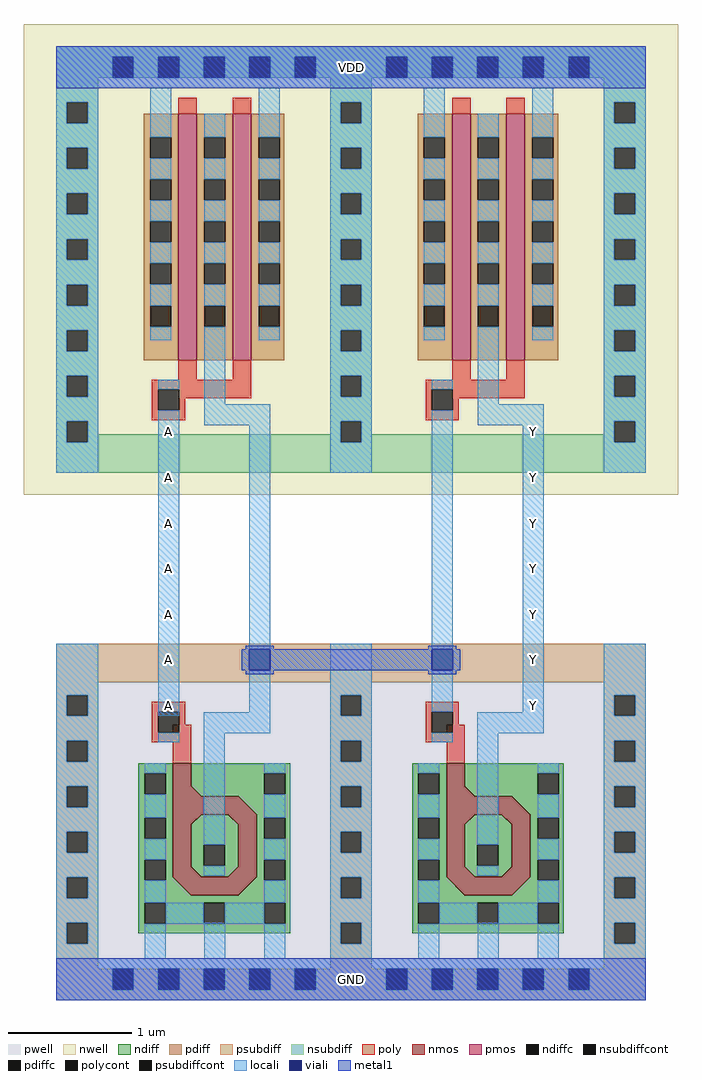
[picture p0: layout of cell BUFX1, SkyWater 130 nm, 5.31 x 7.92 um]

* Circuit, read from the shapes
.subckt BUFX1 Y A VDD GND
XM1 GND A n1 GND sky130_fd_pr__nfet_01v8 w=2.56 l=0.1484
XM2 GND n1 Y GND sky130_fd_pr__nfet_01v8 w=2.56 l=0.1497
XM3 n1 A VDD VDD sky130_fd_pr__pfet_01v8 w=2 l=0.15 m=2
XM4 Y n1 VDD VDD sky130_fd_pr__pfet_01v8 w=2 l=0.15 m=2
.ends

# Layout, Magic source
magic
tech sky130A
magscale 1 2
<< nwell >>
rect 57 1463 91 1497
<< pwell >>
rect 57 -17 91 17
<< locali >>
rect 131 871 165 905
rect 723 871 757 905
rect 131 797 165 831
rect 723 797 757 831
rect 131 723 165 757
rect 723 723 757 757
rect 131 649 165 683
rect 723 649 757 683
rect 131 575 165 609
rect 723 575 757 609
rect 131 501 165 535
rect 723 501 757 535
rect 131 427 165 461
rect 723 427 757 461
<< metal1 >>
rect -34 1446 922 1514
rect -34 -34 922 34
use bufx1  bufx1_0 pcells
transform 1 0 0 0 1 0
box -87 -34 975 1550
<< labels >>
rlabel locali 723 427 757 461 1 Y
port 1 nsew signal output
rlabel locali 723 501 757 535 1 Y
port 1 nsew signal output
rlabel locali 723 575 757 609 1 Y
port 1 nsew signal output
rlabel locali 723 649 757 683 1 Y
port 1 nsew signal output
rlabel locali 723 723 757 757 1 Y
port 1 nsew signal output
rlabel locali 723 797 757 831 1 Y
port 1 nsew signal output
rlabel locali 723 871 757 905 1 Y
port 1 nsew signal output
rlabel locali 131 427 165 461 1 A
port 2 nsew signal input
rlabel locali 131 501 165 535 1 A
port 2 nsew signal input
rlabel locali 131 575 165 609 1 A
port 2 nsew signal input
rlabel locali 131 649 165 683 1 A
port 2 nsew signal input
rlabel locali 131 723 165 757 1 A
port 2 nsew signal input
rlabel locali 131 797 165 831 1 A
port 2 nsew signal input
rlabel locali 131 871 165 905 1 A
port 2 nsew signal input
rlabel metal1 -34 1446 922 1514 1 VDD
port 3 nsew power bidirectional abutment
rlabel metal1 -34 -34 922 34 1 GND
port 4 nsew ground bidirectional abutment


<< properties >>
string LEFclass CORE
string LEFsite unitrh
string FIXED_BBOX 0 0 888 1480
string LEFsymmetry X Y R90
<< end >>

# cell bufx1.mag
magic
tech sky130A
magscale 1 2
<< metal1 >>
rect 315 501 569 535
use invx1_pcell  invx1_pcell_1
transform 1 0 444 0 1 0
box -87 -34 531 1550
use invx1_pcell  invx1_pcell_0
transform 1 0 0 0 1 0
box -87 -34 531 1550
use li1_M1_contact  li1_M1_contact_1
transform 1 0 592 0 1 518
box -53 -33 29 33
use li1_M1_contact  li1_M1_contact_0
transform -1 0 296 0 -1 518
box -53 -33 29 33
<< end >>

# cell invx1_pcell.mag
magic
tech sky130A
magscale 1 2
<< nwell >>
rect -87 786 531 1550
<< pwell >>
rect -34 -34 478 544
<< pdiffc >>
rect 118 1059 152 1093
rect 206 1059 240 1093
rect 294 1059 328 1093
<< psubdiff >>
rect 34 482 410 544
rect 34 -17 57 17
rect 91 -17 131 17
rect 165 -17 205 17
rect 239 -17 279 17
rect 313 -17 353 17
rect 387 -17 410 17
rect 34 -34 410 -17
<< nsubdiff >>
rect 34 1497 410 1514
rect 34 1463 57 1497
rect 91 1463 131 1497
rect 165 1463 205 1497
rect 239 1463 279 1497
rect 313 1463 353 1497
rect 387 1463 410 1497
rect 34 822 410 884
<< psubdiffcont >>
rect 57 -17 91 17
rect 131 -17 165 17
rect 205 -17 239 17
rect 279 -17 313 17
rect 353 -17 387 17
<< nsubdiffcont >>
rect 57 1463 91 1497
rect 131 1463 165 1497
rect 205 1463 239 1497
rect 279 1463 313 1497
rect 353 1463 387 1497
<< poly >>
rect 155 381 185 413
<< locali >>
rect 34 1497 410 1514
rect 34 1463 57 1497
rect 91 1463 131 1497
rect 165 1463 205 1497
rect 239 1463 279 1497
rect 313 1463 353 1497
rect 387 1463 410 1497
rect 34 1446 410 1463
rect 118 1093 152 1111
rect 118 1037 152 1059
rect 206 1093 240 1111
rect 206 933 240 1059
rect 294 1093 328 1111
rect 294 1037 328 1059
rect 131 449 165 908
rect 206 899 313 933
rect 279 433 313 899
rect 205 399 313 433
rect 205 233 239 399
rect 109 34 143 90
rect 206 34 240 91
rect 303 34 337 90
rect 34 17 410 34
rect 34 -17 57 17
rect 91 -17 131 17
rect 165 -17 205 17
rect 239 -17 279 17
rect 313 -17 353 17
rect 387 -17 410 17
rect 34 -34 410 -17
<< viali >>
rect 57 1463 91 1497
rect 131 1463 165 1497
rect 205 1463 239 1497
rect 279 1463 313 1497
rect 353 1463 387 1497
rect 57 -17 91 17
rect 131 -17 165 17
rect 205 -17 239 17
rect 279 -17 313 17
rect 353 -17 387 17
<< metal1 >>
rect 34 1497 410 1514
rect 34 1463 57 1497
rect 91 1463 131 1497
rect 165 1463 205 1497
rect 239 1463 279 1497
rect 313 1463 353 1497
rect 387 1463 410 1497
rect 34 1446 410 1463
rect 34 17 410 34
rect 34 -17 57 17
rect 91 -17 131 17
rect 165 -17 205 17
rect 239 -17 279 17
rect 313 -17 353 17
rect 387 -17 410 17
rect 34 -34 410 -17
use poly_li1_contact  poly_li1_contact_1
transform 0 -1 147 1 0 416
box -32 -28 34 26
use nmos_top  nmos_top_0
transform -1 0 345 0 1 74
box 0 0 246 308
use pmos2  pmos2_0
transform 1 0 20 0 1 1404
box 52 -461 352 42
use poly_li1_contact  poly_li1_contact_0
transform 0 1 149 -1 0 941
box -32 -28 34 26
use diff_ring_side  diff_ring_side_0
transform 1 0 444 0 1 0
box -87 -34 87 1550
use diff_ring_side  diff_ring_side_1
transform 1 0 0 0 1 0
box -87 -34 87 1550
<< end >>

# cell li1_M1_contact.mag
magic
tech sky130A
magscale 1 2
<< locali >>
rect -17 17 17 33
rect -17 -33 17 -17
<< viali >>
rect -17 -17 17 17
<< metal1 >>
rect -23 17 23 23
rect -53 -17 -17 17
rect 17 -17 29 17
rect -23 -23 23 -17
<< end >>

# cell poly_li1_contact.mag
magic
tech sky130
<< poly >>
rect -16 8 17 13
rect -16 -9 -8 8
rect 9 -9 17 8
rect -16 -14 17 -9
<< polycont >>
rect -8 -9 9 8
<< locali >>
rect -16 -9 -8 8
rect 9 -9 17 8
<< end >>

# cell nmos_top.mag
magic
tech sky130
magscale 1 2
<< nmos >>
tri 144 223 160 239 se
rect 160 223 190 276
tri 54 193 84 223 se
rect 84 193 190 223
rect 54 92 84 193
tri 84 177 100 193 nw
tri 144 177 160 193 ne
tri 84 92 100 108 sw
tri 144 92 160 108 se
rect 160 92 190 193
tri 54 62 84 92 ne
rect 84 62 160 92
tri 160 62 190 92 nw
<< ndiff >>
rect 0 260 160 276
rect 0 226 8 260
rect 42 239 160 260
rect 42 226 144 239
rect 0 223 144 226
tri 144 223 160 239 nw
rect 190 260 246 276
rect 190 226 202 260
rect 236 226 246 260
rect 0 188 54 223
tri 54 193 84 223 nw
rect 0 154 8 188
rect 42 154 54 188
rect 0 120 54 154
rect 0 86 8 120
rect 42 86 54 120
tri 84 177 100 193 se
rect 100 177 144 193
tri 144 177 160 193 sw
rect 84 144 160 177
rect 84 110 106 144
rect 140 110 160 144
rect 84 108 160 110
tri 84 92 100 108 ne
rect 100 92 144 108
tri 144 92 160 108 nw
rect 190 188 246 226
rect 190 154 202 188
rect 236 154 246 188
rect 190 120 246 154
rect 0 62 54 86
tri 54 62 84 92 sw
tri 160 62 190 92 se
rect 190 86 202 120
rect 236 86 246 120
rect 190 62 246 86
rect 0 50 246 62
rect 0 16 8 50
rect 42 16 106 50
rect 140 16 202 50
rect 236 16 246 50
rect 0 0 246 16
<< ndiffc >>
rect 8 226 42 260
rect 202 226 236 260
rect 8 154 42 188
rect 8 86 42 120
rect 106 110 140 144
rect 202 154 236 188
rect 202 86 236 120
rect 8 16 42 50
rect 106 16 140 50
rect 202 16 236 50
<< poly >>
rect 160 276 190 308
<< locali >>
rect 8 260 42 276
rect 8 188 42 226
rect 202 260 236 276
rect 202 188 236 226
rect 8 120 42 154
rect 106 144 140 161
rect 106 94 140 110
rect 202 120 236 154
rect 8 50 42 86
rect 202 50 236 86
rect 42 16 106 50
rect 140 16 202 50
rect 8 0 42 16
rect 202 0 236 16
<< end >>

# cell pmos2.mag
magic
tech sky130A
magscale 1 2
<< nwell >>
rect 52 -436 352 36
<< pmos >>
rect 144 -400 174 0
rect 232 -400 262 0
<< pdiff >>
rect 88 -38 144 0
rect 88 -72 98 -38
rect 132 -72 144 -38
rect 88 -106 144 -72
rect 88 -140 98 -106
rect 132 -140 144 -106
rect 88 -174 144 -140
rect 88 -208 98 -174
rect 132 -208 144 -174
rect 88 -242 144 -208
rect 88 -276 98 -242
rect 132 -276 144 -242
rect 88 -400 144 -276
rect 174 -38 232 0
rect 174 -72 186 -38
rect 220 -72 232 -38
rect 174 -106 232 -72
rect 174 -140 186 -106
rect 220 -140 232 -106
rect 174 -174 232 -140
rect 174 -208 186 -174
rect 220 -208 232 -174
rect 174 -242 232 -208
rect 174 -276 186 -242
rect 220 -276 232 -242
rect 174 -400 232 -276
rect 262 -38 316 0
rect 262 -72 274 -38
rect 308 -72 316 -38
rect 262 -106 316 -72
rect 262 -140 274 -106
rect 308 -140 316 -106
rect 262 -174 316 -140
rect 262 -208 274 -174
rect 308 -208 316 -174
rect 262 -242 316 -208
rect 262 -276 274 -242
rect 308 -276 316 -242
rect 262 -400 316 -276
<< pdiffc >>
rect 98 -72 132 -38
rect 98 -140 132 -106
rect 98 -208 132 -174
rect 98 -276 132 -242
rect 186 -72 220 -38
rect 186 -140 220 -106
rect 186 -208 220 -174
rect 186 -276 220 -242
rect 274 -72 308 -38
rect 274 -140 308 -106
rect 274 -208 308 -174
rect 274 -276 308 -242
<< poly >>
rect 144 0 174 26
rect 232 0 262 26
rect 144 -431 174 -400
rect 232 -431 262 -400
rect 144 -461 262 -431
<< locali >>
rect 98 -38 132 42
rect 98 -106 132 -72
rect 98 -174 132 -140
rect 98 -242 132 -208
rect 98 -293 132 -276
rect 186 -38 220 0
rect 186 -106 220 -72
rect 186 -174 220 -140
rect 186 -242 220 -208
rect 186 -293 220 -276
rect 274 -38 308 42
rect 274 -106 308 -72
rect 274 -174 308 -140
rect 274 -242 308 -208
rect 274 -293 308 -276
<< end >>

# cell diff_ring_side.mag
magic
tech sky130A
magscale 1 2
<< nwell >>
rect -87 786 87 1550
<< pwell >>
rect -34 -34 34 544
<< psubdiff >>
rect -34 461 34 544
rect -34 427 -17 461
rect 17 427 34 461
rect -34 387 34 427
rect -34 353 -17 387
rect 17 353 34 387
rect -34 313 34 353
rect -34 279 -17 313
rect 17 279 34 313
rect -34 239 34 279
rect -34 205 -17 239
rect 17 205 34 239
rect -34 165 34 205
rect -34 131 -17 165
rect 17 131 34 165
rect -34 91 34 131
rect -34 57 -17 91
rect 17 57 34 91
rect -34 -34 34 57
<< nsubdiff >>
rect -34 1423 34 1514
rect -34 1389 -17 1423
rect 17 1389 34 1423
rect -34 1349 34 1389
rect -34 1315 -17 1349
rect 17 1315 34 1349
rect -34 1275 34 1315
rect -34 1241 -17 1275
rect 17 1241 34 1275
rect -34 1201 34 1241
rect -34 1167 -17 1201
rect 17 1167 34 1201
rect -34 1127 34 1167
rect -34 1093 -17 1127
rect 17 1093 34 1127
rect -34 1053 34 1093
rect -34 1019 -17 1053
rect 17 1019 34 1053
rect -34 979 34 1019
rect -34 945 -17 979
rect 17 945 34 979
rect -34 905 34 945
rect -34 871 -17 905
rect 17 871 34 905
rect -34 822 34 871
<< psubdiffcont >>
rect -17 427 17 461
rect -17 353 17 387
rect -17 279 17 313
rect -17 205 17 239
rect -17 131 17 165
rect -17 57 17 91
<< nsubdiffcont >>
rect -17 1389 17 1423
rect -17 1315 17 1349
rect -17 1241 17 1275
rect -17 1167 17 1201
rect -17 1093 17 1127
rect -17 1019 17 1053
rect -17 945 17 979
rect -17 871 17 905
<< locali >>
rect -34 1423 34 1514
rect -34 1389 -17 1423
rect 17 1389 34 1423
rect -34 1349 34 1389
rect -34 1315 -17 1349
rect 17 1315 34 1349
rect -34 1275 34 1315
rect -34 1241 -17 1275
rect 17 1241 34 1275
rect -34 1201 34 1241
rect -34 1167 -17 1201
rect 17 1167 34 1201
rect -34 1127 34 1167
rect -34 1093 -17 1127
rect 17 1093 34 1127
rect -34 1053 34 1093
rect -34 1019 -17 1053
rect 17 1019 34 1053
rect -34 979 34 1019
rect -34 945 -17 979
rect 17 945 34 979
rect -34 905 34 945
rect -34 871 -17 905
rect 17 871 34 905
rect -34 822 34 871
rect -34 461 34 544
rect -34 427 -17 461
rect 17 427 34 461
rect -34 387 34 427
rect -34 353 -17 387
rect 17 353 34 387
rect -34 313 34 353
rect -34 279 -17 313
rect 17 279 34 313
rect -34 239 34 279
rect -34 205 -17 239
rect 17 205 34 239
rect -34 165 34 205
rect -34 131 -17 165
rect 17 131 34 165
rect -34 91 34 131
rect -34 57 -17 91
rect 17 57 34 91
rect -34 -34 34 57
<< metal1 >>
rect -34 1446 34 1514
rect -34 -34 34 34
<< end >>
